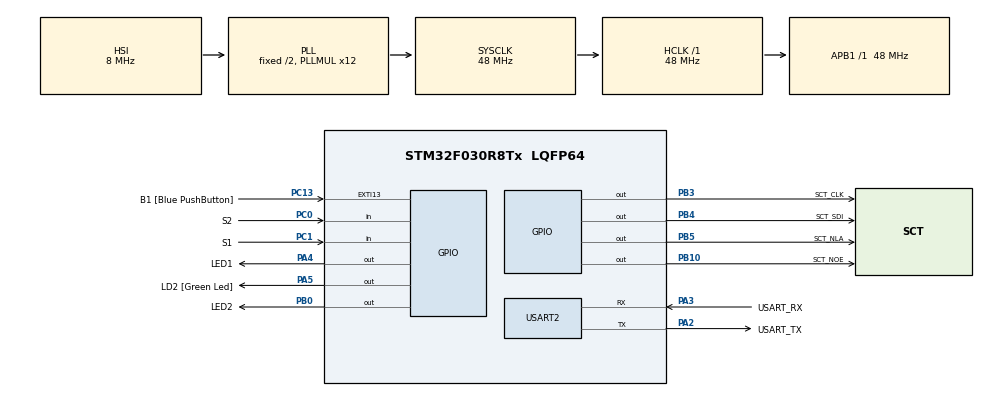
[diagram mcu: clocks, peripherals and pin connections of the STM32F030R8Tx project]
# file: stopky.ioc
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Mcu.Family=STM32F0
Mcu.Name=STM32F030R8Tx
Mcu.Package=LQFP64
PA13.GPIO_Label=TMS
PA13.Mode=Serial_Wire
PA13.Signal=SYS_SWDIO
PA14.GPIO_Label=TCK
PA14.Mode=Serial_Wire
PA14.Signal=SYS_SWCLK
PA2.GPIO_Label=USART_TX
PA2.GPIO_Mode=GPIO_MODE_AF_PP
PA2.GPIO_PuPd=GPIO_NOPULL
PA2.GPIO_Speed=GPIO_SPEED_FREQ_LOW
PA2.Mode=Asynchronous
PA2.Signal=USART2_TX
PA3.GPIO_Label=USART_RX
PA3.GPIO_Mode=GPIO_MODE_AF_PP
PA3.GPIO_PuPd=GPIO_NOPULL
PA3.GPIO_Speed=GPIO_SPEED_FREQ_LOW
PA3.Mode=Asynchronous
PA3.Signal=USART2_RX
PA4.GPIO_Label=LED1
PA4.Signal=GPIO_Output
PA5.GPIO_Label=LD2 [Green Led]
PA5.GPIO_Mode=GPIO_MODE_OUTPUT_PP
PA5.GPIO_PuPd=GPIO_NOPULL
PA5.GPIO_Speed=GPIO_SPEED_FREQ_LOW
PA5.Signal=GPIO_Output
PB0.GPIO_Label=LED2
PB0.Signal=GPIO_Output
PB10.GPIO_Label=SCT_NOE
PB10.Signal=GPIO_Output
PB3.GPIO_Label=SCT_CLK
PB3.Signal=GPIO_Output
PB4.GPIO_Label=SCT_SDI
PB4.Signal=GPIO_Output
PB5.GPIO_Label=SCT_NLA
PB5.Signal=GPIO_Output
PC0.GPIO_Label=S2
PC0.GPIO_PuPd=GPIO_PULLUP
PC0.Signal=GPIO_Input
PC1.GPIO_Label=S1
PC1.GPIO_PuPd=GPIO_PULLUP
PC1.Signal=GPIO_Input
PC13.GPIO_Label=B1 [Blue PushButton]
PC13.GPIO_ModeDefaultEXTI=GPIO_MODE_IT_FALLING
PC13.Signal=GPXTI13
PC14-OSC32_IN.Mode=LSE-External-Oscillator
PC14-OSC32_IN.Signal=RCC_OSC32_IN
PC15-OSC32_OUT.Mode=LSE-External-Oscillator
PC15-OSC32_OUT.Signal=RCC_OSC32_OUT
PF0-OSC_IN.Mode=HSE-External-Clock-Source
PF0-OSC_IN.Signal=RCC_OSC_IN
PF1-OSC_OUT.Signal=RCC_OSC_OUT
ProjectManager.HeapSize=0x200
ProjectManager.StackSize=0x400
ProjectManager.TargetToolchain=STM32CubeIDE
RCC.AHBFreq_Value=48000000
RCC.APB1Freq_Value=48000000
RCC.APB1TimFreq_Value=48000000
RCC.HCLKFreq_Value=48000000
RCC.PLLMUL=RCC_PLL_MUL12
RCC.SYSCLKFreq_VALUE=48000000
RCC.SYSCLKSource=RCC_SYSCLKSOURCE_PLLCLK
USART2.VirtualMode-Asynchronous=VM_ASYNC
board=NUCLEO-F030R8

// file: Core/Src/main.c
/* USER CODE BEGIN Header */
/**
 ******************************************************************************
 * @file           : main.c
 * @brief          : Main program body
 ******************************************************************************
 * @attention
 *
 * Copyright (c) 2025 STMicroelectronics.
 * All rights reserved.
 *
 * This software is licensed under terms that can be found in the LICENSE file
 * in the root directory of this software component.
 * If no LICENSE file comes with this software, it is provided AS-IS.
 *
 ******************************************************************************
 */
/* USER CODE END Header */
#include "main.h"

/* USER CODE BEGIN Includes */
#include "sct.h"
#include <stdlib.h>
#include <time.h>
/* USER CODE END Includes */

/* USER CODE BEGIN PD */

#define DEBOUNCE_DELAY 100  // čas v milisekundách na debounce
#define LED_TOGGLE_DELAY 100 // čas medzi prepínaním LED pri bliknutí

/* USER CODE END PD */

UART_HandleTypeDef huart2;

/* USER CODE BEGIN PV */
uint32_t elapsed_time = 0;
uint32_t stop_time = 0;
uint16_t display_value = 0;
uint32_t start_time;
uint8_t led_timer = 0;
/* USER CODE END PV */

void SystemClock_Config(void);
static void MX_GPIO_Init(void);
static void MX_USART2_UART_Init(void);

/* USER CODE BEGIN 0 */
static enum {
	running, stopped, reset
} state = stopped;

static enum {
	sw_running, sw_stopped, sw_error
} control_led_state = sw_stopped;

static uint32_t last_toggle_time = 0;  // čas posledného prepnutia LED
static uint8_t led_toggle_count = 0;   // počítadlo, koľkokrát bola LED prepnutá

static uint16_t debounce1 = 0xFFFF;
static uint16_t debounce2 = 0xFFFF;

uint8_t get_dot_position(uint32_t seconds) {
	if (seconds < 10) {
		return 1; // Bodka na prvom displeji
	} else if (seconds < 60) {
		return 2; // Bodka na druhom displeji
	} else if (seconds < 600) {
		return 1; //bodka na prvom displeji
	} else {
		return 2; // Bodka na druhom displeji
	}
}

void button_handler() {
	debounce1 = (debounce1 << 1) | HAL_GPIO_ReadPin(S1_GPIO_Port, S1_Pin);
	debounce2 = (debounce2 << 1) | HAL_GPIO_ReadPin(S2_GPIO_Port, S2_Pin);

	if (debounce1 == 0x7FFF) {
		if (state == stopped) {
			state = reset;

			for (uint8_t i = 0; i < 4; i++) {
				HAL_GPIO_TogglePin(LED2_GPIO_Port, LED2_Pin);
				HAL_Delay(100);
			}

			start_time = HAL_GetTick();
			stop_time = 0;
			elapsed_time = 0;

		} else if (state == running) {

			for (uint8_t i = 0; i < 4; i++) {
				HAL_GPIO_TogglePin(LED2_GPIO_Port, LED2_Pin);
				HAL_Delay(100);
			}
		}
	}
	if (debounce2 == 0x7FFF) {
		if (state == stopped) {
			state = running;

			start_time = HAL_GetTick() - stop_time; // Zachovanie kontinuity času
			stop_time = 0; // Resetovanie stop_time
		} else if (state == running) {
			state = stopped;
			stop_time = HAL_GetTick() - start_time; // Uloženie uplynutého času
		}
	}
}

void button_handler2() {
	debounce1 = (debounce1 << 1) | HAL_GPIO_ReadPin(S1_GPIO_Port, S1_Pin);
	debounce2 = (debounce2 << 1) | HAL_GPIO_ReadPin(S2_GPIO_Port, S2_Pin);

	if (debounce1 == 0x7FFF) {
		if (state == stopped) {
			state = reset;
			start_time = HAL_GetTick();
			stop_time = 0;
			elapsed_time = 0;

		} else if (state == running) {
			control_led_state = sw_error;
		}
	}
	if (debounce2 == 0x7FFF) {
		if (state == stopped) {
			state = running;
			control_led_state = sw_running;
			start_time = HAL_GetTick() - stop_time; // Zachovanie kontinuity času
			stop_time = 0; // Resetovanie stop_time
		} else if (state == running) {
			state = stopped;
			control_led_state = sw_stopped;
			stop_time = HAL_GetTick() - start_time; // Uloženie uplynutého času
		}
	}
}

void led_controller() {
	uint32_t current_time = HAL_GetTick();

	switch (control_led_state) {
	case sw_error:
		if (current_time - last_toggle_time >= LED_TOGGLE_DELAY) {
			last_toggle_time = current_time;
			HAL_GPIO_TogglePin(LED2_GPIO_Port, LED2_Pin);
			if (led_toggle_count >= 5) {
				control_led_state = sw_running;
				last_toggle_time = 0;
				led_toggle_count = 0;
			} else {
				led_toggle_count++;
			}
		}
		break;
	case sw_running:
		HAL_GPIO_WritePin(LED2_GPIO_Port, LED2_Pin, 0);
		HAL_GPIO_WritePin(LED1_GPIO_Port, LED1_Pin, 0);

		break;
	case sw_stopped:
		HAL_GPIO_WritePin(LED1_GPIO_Port, LED1_Pin, 1);
		break;
	}
}

/* USER CODE END 0 */

int main(void) {

	/* MCU Configuration--------------------------------------------------------*/

	/* Reset of all peripherals, Initializes the Flash interface and the Systick. */
	HAL_Init();

	/* Configure the system clock */
	SystemClock_Config();

	/* Initialize all configured peripherals */
	MX_GPIO_Init();
	MX_USART2_UART_Init();
	/* USER CODE BEGIN 2 */
	start_time = HAL_GetTick(); // Začiatočný čas
	/* USER CODE END 2 */

	/* Infinite loop */
	/* USER CODE BEGIN WHILE */
	while (1) {

		/* USER CODE BEGIN 3 */
		button_handler2();
		led_controller();

		switch (state) {

		case running:
			// Prepočítanie času
			elapsed_time = HAL_GetTick() - start_time + stop_time;
			uint32_t total_centiseconds = elapsed_time / 10;

			// Ak čas presiahol limit 15 minút
			if (total_centiseconds >= 90200) {
				state = stopped;
				break;
			}

			// Výpočet LED animácie
			led_timer = (total_centiseconds % 100) / 10;

			// Nastavenie hodnoty pre displej podľa času
			if (total_centiseconds < 1000) {
				// Menej ako 10 sekúnd
				display_value = total_centiseconds;

			} else if (total_centiseconds < 6000) {

				// Menej ako 60 sekúnd
				display_value = ((total_centiseconds / 100) * 10) + ((total_centiseconds % 100) / 10);

			} else if (total_centiseconds < 60000) {
				// Menej ako 10 minút
				uint8_t minutes = total_centiseconds / 6000;
				uint8_t seconds = (total_centiseconds / 100) % 60;
				uint8_t tens_of_seconds = seconds / 10;
				uint8_t units_of_seconds = seconds % 10;

				display_value = (minutes * 100) + (tens_of_seconds * 10)
						+ units_of_seconds;
			} else {
				// Nad 10 minút
				led_timer = ((total_centiseconds / 100) % 60) % 10;
				display_value = ((total_centiseconds / 6000) * 10)
						+ (((total_centiseconds / 100) / 10) % 6);
			}

			// Nastavenie bodky a aktualizácia displeja
			uint8_t dot_position = get_dot_position(total_centiseconds / 100);
			sct_value(display_value, dot_position, led_timer);
			break;

		case stopped:
			elapsed_time = stop_time;
			sct_value(display_value, dot_position, led_timer); // Aktualizácia displeja s bodkou
			break;

		case reset:
			start_time = HAL_GetTick();
			stop_time = 0;
			elapsed_time = 0;
			display_value = 0;
			led_timer = 0;
			state = stopped;
			break;
		}
		/* USER CODE END 3 */
	}
}

void SystemClock_Config(void) {
	RCC_OscInitTypeDef RCC_OscInitStruct = { 0 };
	RCC_ClkInitTypeDef RCC_ClkInitStruct = { 0 };

	/** Initializes the RCC Oscillators according to the specified parameters
	 * in the RCC_OscInitTypeDef structure.
	 */
	RCC_OscInitStruct.OscillatorType = RCC_OSCILLATORTYPE_HSI;
	RCC_OscInitStruct.HSIState = RCC_HSI_ON;
	RCC_OscInitStruct.HSICalibrationValue = RCC_HSICALIBRATION_DEFAULT;
	RCC_OscInitStruct.PLL.PLLState = RCC_PLL_ON;
	RCC_OscInitStruct.PLL.PLLSource = RCC_PLLSOURCE_HSI;
	RCC_OscInitStruct.PLL.PLLMUL = RCC_PLL_MUL12;
	RCC_OscInitStruct.PLL.PREDIV = RCC_PREDIV_DIV1;
	if (HAL_RCC_OscConfig(&RCC_OscInitStruct) != HAL_OK) {
		Error_Handler();
	}

	/** Initializes the CPU, AHB and APB buses clocks
	 */
	RCC_ClkInitStruct.ClockType = RCC_CLOCKTYPE_HCLK | RCC_CLOCKTYPE_SYSCLK
			| RCC_CLOCKTYPE_PCLK1;
	RCC_ClkInitStruct.SYSCLKSource = RCC_SYSCLKSOURCE_PLLCLK;
	RCC_ClkInitStruct.AHBCLKDivider = RCC_SYSCLK_DIV1;
	RCC_ClkInitStruct.APB1CLKDivider = RCC_HCLK_DIV1;

	if (HAL_RCC_ClockConfig(&RCC_ClkInitStruct, FLASH_LATENCY_1) != HAL_OK) {
		Error_Handler();
	}
}

static void MX_USART2_UART_Init(void) {

	huart2.Instance = USART2;
	huart2.Init.BaudRate = 38400;
	huart2.Init.WordLength = UART_WORDLENGTH_8B;
	huart2.Init.StopBits = UART_STOPBITS_1;
	huart2.Init.Parity = UART_PARITY_NONE;
	huart2.Init.Mode = UART_MODE_TX_RX;
	huart2.Init.HwFlowCtl = UART_HWCONTROL_NONE;
	huart2.Init.OverSampling = UART_OVERSAMPLING_16;
	huart2.Init.OneBitSampling = UART_ONE_BIT_SAMPLE_DISABLE;
	huart2.AdvancedInit.AdvFeatureInit = UART_ADVFEATURE_NO_INIT;
	if (HAL_UART_Init(&huart2) != HAL_OK) {
		Error_Handler();
	}

}

static void MX_GPIO_Init(void) {
	GPIO_InitTypeDef GPIO_InitStruct = { 0 };

	/* GPIO Ports Clock Enable */
	__HAL_RCC_GPIOC_CLK_ENABLE();
	__HAL_RCC_GPIOF_CLK_ENABLE();
	__HAL_RCC_GPIOA_CLK_ENABLE();
	__HAL_RCC_GPIOB_CLK_ENABLE();

	/*Configure GPIO pin Output Level */
	HAL_GPIO_WritePin(GPIOA, LED1_Pin | LD2_Pin, GPIO_PIN_RESET);

	/*Configure GPIO pin Output Level */
	HAL_GPIO_WritePin(GPIOB,
	LED2_Pin | SCT_NOE_Pin | SCT_CLK_Pin | SCT_SDI_Pin | SCT_NLA_Pin,
			GPIO_PIN_RESET);

	/*Configure GPIO pin : B1_Pin */
	GPIO_InitStruct.Pin = B1_Pin;
	GPIO_InitStruct.Mode = GPIO_MODE_IT_FALLING;
	GPIO_InitStruct.Pull = GPIO_NOPULL;
	HAL_GPIO_Init(B1_GPIO_Port, &GPIO_InitStruct);

	/*Configure GPIO pins : S2_Pin S1_Pin */
	GPIO_InitStruct.Pin = S2_Pin | S1_Pin;
	GPIO_InitStruct.Mode = GPIO_MODE_INPUT;
	GPIO_InitStruct.Pull = GPIO_PULLUP;
	HAL_GPIO_Init(GPIOC, &GPIO_InitStruct);

	/*Configure GPIO pins : LED1_Pin LD2_Pin */
	GPIO_InitStruct.Pin = LED1_Pin | LD2_Pin;
	GPIO_InitStruct.Mode = GPIO_MODE_OUTPUT_PP;
	GPIO_InitStruct.Pull = GPIO_NOPULL;
	GPIO_InitStruct.Speed = GPIO_SPEED_FREQ_LOW;
	HAL_GPIO_Init(GPIOA, &GPIO_InitStruct);

	/*Configure GPIO pins : LED2_Pin SCT_NOE_Pin SCT_CLK_Pin SCT_SDI_Pin
	 SCT_NLA_Pin */
	GPIO_InitStruct.Pin = LED2_Pin | SCT_NOE_Pin | SCT_CLK_Pin | SCT_SDI_Pin
			| SCT_NLA_Pin;
	GPIO_InitStruct.Mode = GPIO_MODE_OUTPUT_PP;
	GPIO_InitStruct.Pull = GPIO_NOPULL;
	GPIO_InitStruct.Speed = GPIO_SPEED_FREQ_LOW;
	HAL_GPIO_Init(GPIOB, &GPIO_InitStruct);

}

void Error_Handler(void) {
	__disable_irq();
	while (1) {
	}
}
